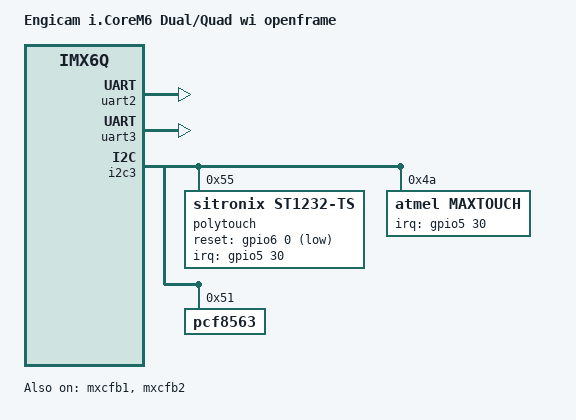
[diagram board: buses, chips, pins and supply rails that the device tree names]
/*
 * Copyright (C) 2013 Freescale Semiconductor, Inc.
 *
 * This program is free software; you can redistribute it and/or modify
 * it under the terms of the GNU General Public License version 2 as
 * published by the Free Software Foundation.
 */

/dts-v1/;

#include "imx6q.dtsi"
#include "icorem6qdl.dtsi"

/ {
	model = "Engicam i.CoreM6 Dual/Quad wi openframe";
	compatible = "fsl,imx6-icore", "fsl,imx6q";
};

&ldb {
	ipu_id = <0>;
	sec_ipu_id = <0>;
};

&mxcfb1 {
	status = "okay";
};

&mxcfb2 {
	status = "okay";
};

&uart2 {
	status = "okay";
};

&uart3 {
	fsl,uart-has-rtscts;
	status = "okay";
};


&i2c3 {

	polytouch: st1232_ts@55 {
		compatible = "sitronix,st1232-ts";
		reg = <0x55>;
		pinctrl-names = "default";		
		pinctrl-0 = <&pinctrl_st1232_ts>;
		interrupt-parent = <&gpio5>;
		interrupts = <30 0>;	
		reset-gpios = <&gpio6 0 1>;
		// Different setting for Ampire/URT
		// invert_y = <0>; for Ampire  LCD 
		// invert_y = <1>; for URT  LCD 
		invert_y = <0>;
	};


	// New touch 4.3" AVD
	maxtouch@4a {
		compatible = "atmel,maxtouch";
		reg = <0x4a>;
		pinctrl-names = "default";		
		pinctrl-0 = <&pinctrl_maxtouch_ts>;
		interrupt-parent = <&gpio5>;
		interrupts = <30 0>;	
	};
	
	// Optional RTC
	pcf8563: rtc@51 {
		compatible = "pcf8563";
		reg = <0x51>;
	};

};


&iomuxc {
	touchpanel{
		pinctrl_st1232_ts:  st1232-tsgrp  {
			fsl,pins = <
				MX6QDL_PAD_CSI0_DAT12__GPIO5_IO30 0x1b0b0 /*interrupt*/ 
				MX6QDL_PAD_CSI0_DAT14__GPIO6_IO00 0x1b0b0 /*reset edt*/
			>;
		};
	};
};

&iomuxc {
	touchpanel{
		pinctrl_maxtouch_ts:  maxtouch-tsgrp  {
			fsl,pins = <
				MX6QDL_PAD_CSI0_DAT12__GPIO5_IO30 0x1b0b0 /*interrupt*/ 
			>;
		};
	};
};
